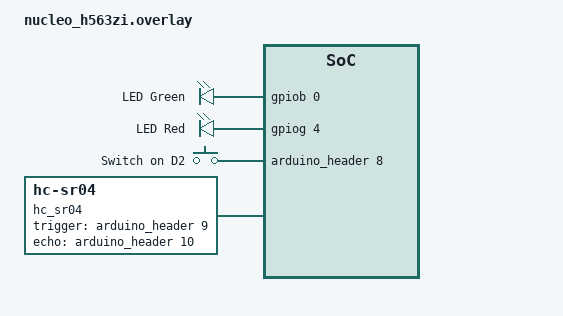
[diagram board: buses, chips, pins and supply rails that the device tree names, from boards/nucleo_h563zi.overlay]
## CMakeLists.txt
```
# SPDX-License-Identifier: Apache-2.0

cmake_minimum_required(VERSION 3.20.0)
find_package(Zephyr REQUIRED HINTS $ENV{ZEPHYR_BASE})
project(OnOffSonicLan)

target_sources(app PRIVATE src/main.c)
```

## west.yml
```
manifest:
  remotes:
    - name: zephyrproject-rtos
      url-base: https://github.com/zephyrproject-rtos
  projects:
    - name: zephyr
      remote: zephyrproject-rtos
      revision: v4.4.0
      import: true
  self:
    path: OnOffSonicLan
```

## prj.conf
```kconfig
CONFIG_GPIO=y
CONFIG_SENSOR=y
CONFIG_HC_SR04=y
CONFIG_CBPRINTF_FP_SUPPORT=y

CONFIG_NETWORKING=y
CONFIG_NET_IPV4=y
CONFIG_NET_UDP=y
CONFIG_NET_TCP=y
CONFIG_NET_SOCKETS=y
CONFIG_NET_L2_ETHERNET=y
CONFIG_NET_LOG=y
CONFIG_NET_STATISTICS=y
CONFIG_NET_CONFIG_SETTINGS=y
CONFIG_NET_CONFIG_NEED_IPV4=y
CONFIG_NET_CONFIG_MY_IPV4_ADDR="192.168.0.50"
CONFIG_NET_CONFIG_PEER_IPV4_ADDR="192.168.0.1"
CONFIG_NET_IF_UNICAST_IPV4_ADDR_COUNT=2
CONFIG_NET_IF_MAX_IPV4_COUNT=2
CONFIG_POSIX_API=y

CONFIG_MAIN_STACK_SIZE=2048
CONFIG_LOG=y
CONFIG_PRINTK=y
```

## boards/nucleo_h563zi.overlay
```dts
/ {
	aliases {
		led-green = &led_green;
		led-red   = &led_red;
		sw0       = &toggle_switch;
	};

	leds {
		compatible = "gpio-leds";
		led_green: led_1 {
			gpios = <&gpiob 0 GPIO_ACTIVE_HIGH>;  /* Onboard Green LED */
			label = "LED Green";
		};
		led_red: led_2 {
			gpios = <&gpiog 4 GPIO_ACTIVE_HIGH>;  /* Onboard Red LED */
			label = "LED Red";
		};
	};

	buttons {
		compatible = "gpio-keys";
		toggle_switch: switch_1 {
			gpios = <&arduino_header 8 GPIO_ACTIVE_HIGH>; /* Pin D2 */
			label = "Switch on D2";
		};
	};

	/* HC-SR04 uses D3 as a trigger pulse output and D4 as the echo input, so the firmware can measure distance by timing the returning pulse. */
	hc_sr04: hc-sr04 {
		compatible = "hc-sr04"; 
		trigger-gpios = <&arduino_header 9 GPIO_ACTIVE_HIGH>; 
		echo-gpios = <&arduino_header 10 GPIO_ACTIVE_HIGH>;
		status = "okay";
	};
};
```

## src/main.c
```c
#include <zephyr/kernel.h>
#include <zephyr/drivers/gpio.h>
#include <zephyr/drivers/sensor.h>
#include <zephyr/net/socket.h>
#include <zephyr/posix/arpa/inet.h>
#include <zephyr/posix/sys/socket.h>
#include <zephyr/sys/printk.h>
#include <errno.h>
#include <stdio.h>
#include <string.h>

/*
 * Physical wiring (see boards/nucleo_h563zi.overlay for the DT side):
 *   led_green -> onboard LD1, PB0
 *   led_red   -> onboard LD3, PG4
 *   sw0       -> SPDT toggle switch, common pin on D2, throws on 3V3/GND
 *   hc_sr04   -> TRIG on D3, ECHO on D4 (via 1k/2k divider down to 3.3V)
 */

#define UDP_PORT 5005
#define UDP_MSG_MAX 128

static const struct gpio_dt_spec led_green =
	GPIO_DT_SPEC_GET(DT_ALIAS(led_green), gpios);

static const struct gpio_dt_spec led_red =
	GPIO_DT_SPEC_GET(DT_ALIAS(led_red), gpios);

static const struct gpio_dt_spec switch_pin =
	GPIO_DT_SPEC_GET(DT_ALIAS(sw0), gpios);

static const struct device *const sensor =
	DEVICE_DT_GET(DT_NODELABEL(hc_sr04));

static int udp_socket_init(void)
{
	int sock = socket(AF_INET, SOCK_DGRAM, IPPROTO_UDP);
	if (sock < 0) {
		printk("Failed to create UDP socket: %d\n", errno);
		return -1;
	}

	return sock;
}

static int send_distance_udp(int sock, int32_t distance_mm)
{
	char payload[UDP_MSG_MAX];
	struct sockaddr_in remote_addr;
	int ret;

	memset(&remote_addr, 0, sizeof(remote_addr));
	remote_addr.sin_family = AF_INET;
	remote_addr.sin_port = htons(UDP_PORT);
	inet_pton(AF_INET, CONFIG_NET_CONFIG_PEER_IPV4_ADDR, &remote_addr.sin_addr);

	snprintk(payload, sizeof(payload),
		 "sensor=hc_sr04,state=on,distance_mm=%d\n",
		distance_mm);

	ret = sendto(sock, payload, strlen(payload), 0,
			(struct sockaddr *)&remote_addr, sizeof(remote_addr));
	if (ret < 0) {
		printk("UDP send failed: %d\n", errno);
		return -1;
	}

	printk("Sent: %s", payload);
	return 0;
}

int main(void)
{
	struct sensor_value distance;
	int udp_sock;
	int state;
	int ready = 0;

	if (!gpio_is_ready_dt(&led_green) ||
	    !gpio_is_ready_dt(&led_red) ||
	    !gpio_is_ready_dt(&switch_pin)) {
		printk("ERROR: GPIO setup failed\n");
		return -1;
	}

	if (!device_is_ready(sensor)) {
		printk("ERROR: HC-SR04 driver not ready\n");
		return -1;
	}

	gpio_pin_configure_dt(&led_green, GPIO_OUTPUT_INACTIVE);
	gpio_pin_configure_dt(&led_red, GPIO_OUTPUT_ACTIVE);
	gpio_pin_configure_dt(&switch_pin, GPIO_INPUT);

	udp_sock = udp_socket_init();
	if (udp_sock < 0) {
		return -1;
	}

	printk("\n");
	printk("*** OnOffSonicLan ***\n");
	printk("System Initialized Successfully!\n");
	printk("HC-SR04 driver ready.\n");

	while (1) {
		state = gpio_pin_get_dt(&switch_pin);

		if (state > 0) {
			gpio_pin_set_dt(&led_green, 1);
			gpio_pin_set_dt(&led_red, 0);

			if (sensor_sample_fetch(sensor) == 0) {
				sensor_channel_get(sensor, SENSOR_CHAN_DISTANCE, &distance);
				int32_t distance_mm = (distance.val1 * 1000) + (distance.val2 / 1000);

				printk("Distance: %d.%02d meters\n",
				       distance.val1, distance.val2 / 10000);

				if (ready == 0) {
					printk("UDP sender enabled for LAN destination %s:%d\n",
					       CONFIG_NET_CONFIG_PEER_IPV4_ADDR, UDP_PORT);
					ready = 1;
				}

				send_distance_udp(udp_sock, distance_mm);
			} else {
				printk("Sensor measurement timeout or error.\n");
			}

			k_msleep(500);
		} else {
			gpio_pin_set_dt(&led_green, 0);
			gpio_pin_set_dt(&led_red, 1);
			ready = 0;
			k_msleep(100);
		}
	}

	return 0;
}
```
